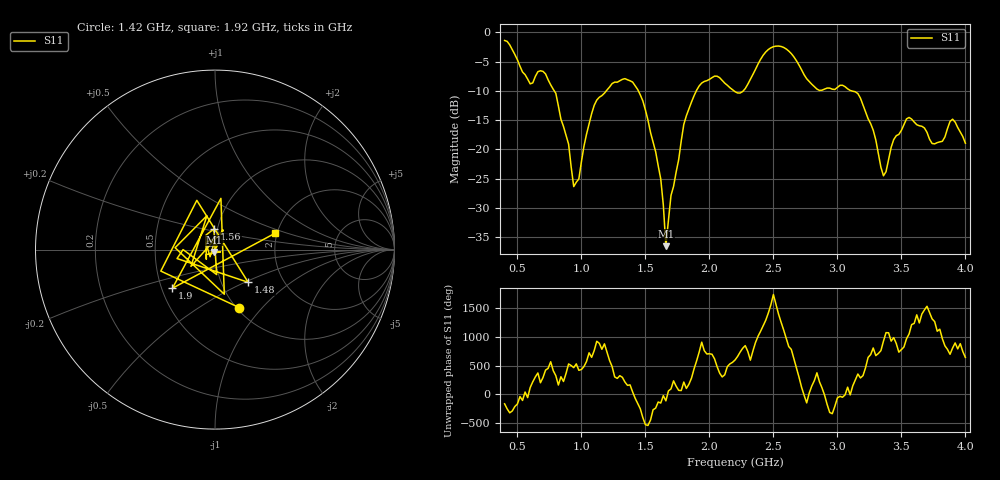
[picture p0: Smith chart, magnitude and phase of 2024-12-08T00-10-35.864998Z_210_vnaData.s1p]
!Created with skrf (http://scikit-rf.org).
# Hz S RI R 50.0
!freq ReS11 ImS11
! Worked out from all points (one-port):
!   181 points, 400 MHz to 4 GHz, reference 50 ohm
!   lowest |S11| = -36.6 dB at 1.66 GHz (marker M1), VSWR 1.03, Z = 49.4 - j1.35 ohm
!   |S11| at or under -10 dB: 788.3 MHz to 1.194 GHz (405.9 MHz wide, 41 % of centre); 1.445 GHz to 1.898 GHz (452.5 MHz wide, 27.1 % of centre); 3.112 GHz to end of sweep (the widest 3 of 4)
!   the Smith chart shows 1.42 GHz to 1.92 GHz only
!   S11 on the Smith chart (normalised r, x): 1.42 GHz: 1.03, -0.76; 1.48 GHz: 1.34, -0.52; 1.56 GHz: 0.96, +0.22; 1.9 GHz: 0.57, -0.27; 1.92 GHz: 1.96, +0.41
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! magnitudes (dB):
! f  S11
! 400 MHz  -1.4
! 600 MHz  -8.8
! 720 MHz  -7.1
! 860 MHz  -16.1
! 940 MHz  -26.4
! 1.1 GHz  -12.5
! 1.3 GHz  -8.3
! 1.42 GHz  -9.1
! 1.48 GHz  -11.7
! 1.56 GHz  -18.8
! 1.62 GHz  -25.1
! 1.66 GHz  -36.6
! 1.7 GHz  -27.9
! 1.76 GHz  -21.8
! 1.8 GHz  -15.7
! 1.9 GHz  -9.9
! 1.92 GHz  -9.1
! 2.2 GHz  -10.1
! 2.48 GHz  -2.6
! 2.66 GHz  -4.2
! 2.84 GHz  -9.7
! 3.1 GHz  -9.9
! 3.28 GHz  -16.7
! 3.36 GHz  -24.5
! 3.56 GHz  -14.5
! 3.76 GHz  -19.1
! 3.9 GHz  -14.8
! 4 GHz  -19.0
